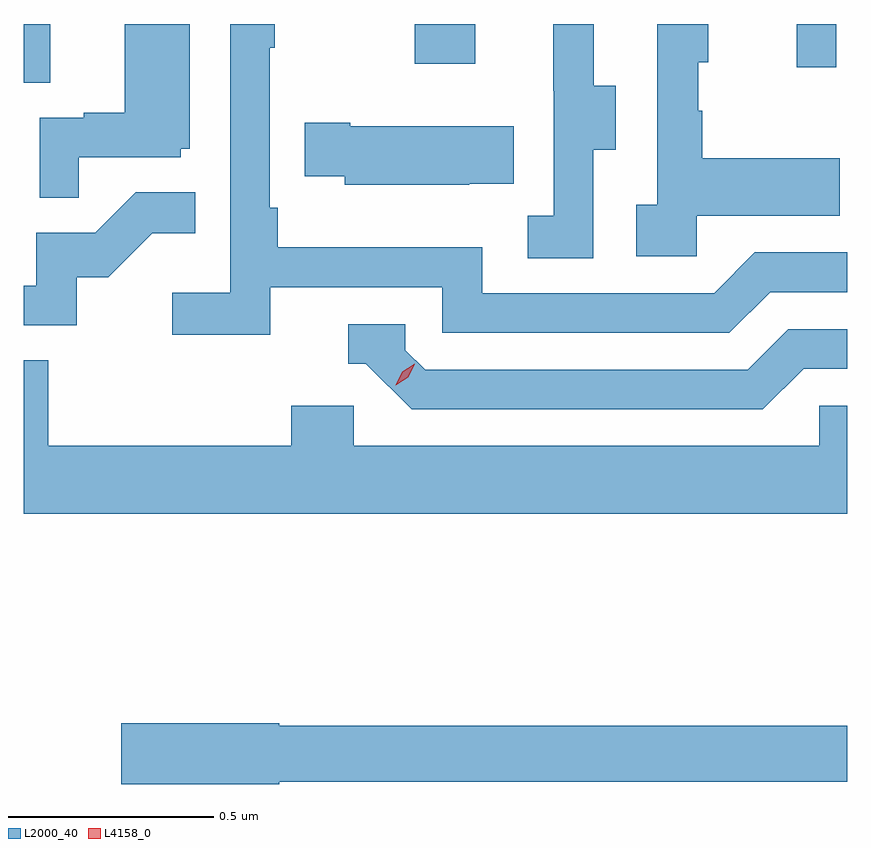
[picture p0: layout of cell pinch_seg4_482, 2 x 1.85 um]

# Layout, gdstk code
import gdstk
lib = gdstk.Library(unit=1e-6, precision=1e-09)
def R(c, l, rs):  # rectangles x0, y0, x1, y1
    for r in rs: c.add(gdstk.rectangle(r[:2], r[2:], *l))
def P(c, l, *ps):  # polygons
    for p in ps: c.add(gdstk.Polygon(p, *l))
L2000_40 = (2000, 40)
L4158_0 = (4158, 0)

pinch_seg4_482 = lib.new_cell('pinch_seg4_482')
R(pinch_seg4_482, L2000_40, [(923.673,768.562,923.737,768.705), (925.55,768.6,925.647,768.705), (924.622,768.609,924.769,768.705)])
P(pinch_seg4_482, L2000_40, [(923.807,768.381),(924.054,768.381),(924.054,768.402),(924.076,768.402),(924.076,768.705),(923.918,768.705),(923.918,768.49),(923.819,768.49),(923.819,768.477),(923.712,768.477),(923.712,768.283),(923.807,768.283)],
  [(924.272,768.066),(924.69,768.066),(924.69,767.955),(925.387,767.955),(925.486,768.054),(925.673,768.054),(925.673,768.15),(925.449,768.15),(925.35,768.051),(924.786,768.051),(924.786,768.163),(924.29,768.163),(924.29,768.259),(924.27,768.259),(924.27,768.647),(924.283,768.647),(924.283,768.705),(924.174,768.705),(924.174,768.052),(924.033,768.052),(924.033,767.95),(924.272,767.95)],
  [(925.308,768.239),(925.655,768.239),(925.655,768.379),(925.321,768.379),(925.321,768.494),(925.311,768.494),(925.311,768.612),(925.336,768.612),(925.336,768.705),(925.212,768.705),(925.212,768.266),(925.161,768.266),(925.161,768.141),(925.308,768.141)],
  [(925.056,768.4),(925.111,768.4),(925.111,768.555),(925.057,768.555),(925.057,768.705),(924.959,768.705),(924.959,768.543),(924.96,768.543),(924.96,768.239),(924.897,768.239),(924.897,768.136),(925.056,768.136)],
  [(924.755,768.317),(924.863,768.317),(924.863,768.457),(924.466,768.457),(924.466,768.465),(924.355,768.465),(924.355,768.335),(924.453,768.335),(924.453,768.314),(924.755,768.314)],
  [(923.802,768.09),(923.878,768.09),(923.985,768.197),(924.089,768.197),(924.089,768.296),(923.945,768.296),(923.847,768.198),(923.703,768.198),(923.703,768.069),(923.673,768.069),(923.673,767.973),(923.802,767.973)],
  [(925.567,767.868),(925.673,767.868),(925.673,767.964),(925.53,767.964),(925.431,767.865),(924.648,767.865),(924.6,767.913),(924.6,767.976),(924.461,767.976),(924.461,767.88),(924.504,767.88),(924.615,767.769),(925.468,767.769)],
  [(925.673,767.778),(925.605,767.778),(925.605,767.68),(924.474,767.68),(924.474,767.778),(924.323,767.778),(924.323,767.68),(923.732,767.68),(923.732,767.888),(923.673,767.888),(923.673,767.516),(925.673,767.516)],
  [(924.294,766.864),(925.673,766.864),(925.673,767),(924.294,767),(924.294,767.006),(923.91,767.006),(923.91,766.859),(924.294,766.859)])
P(pinch_seg4_482, L4158_0, [(924.576,767.827),(924.576,767.828),(924.592,767.86),(924.622,767.88),(924.623,767.88),(924.623,767.88),(924.607,767.847),(924.577,767.827)])

lib.write_gds('pinch_seg4_482.gds')
